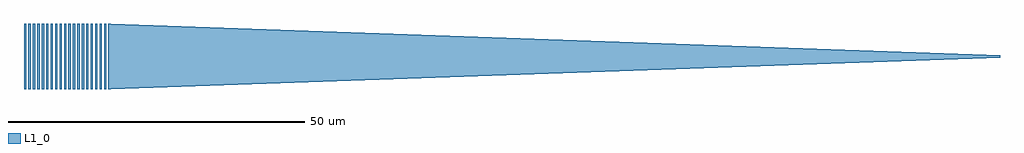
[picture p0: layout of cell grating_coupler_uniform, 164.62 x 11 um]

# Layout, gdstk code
import gdstk
lib = gdstk.Library(unit=1e-6, precision=1e-09)
def R(c, l, rs):  # rectangles x0, y0, x1, y1
    for r in rs: c.add(gdstk.rectangle(r[:2], r[2:], *l))
def A(c, l, x, y, w, h, nx, ny, dx, dy):  # array of equal rectangles
    R(c, l, [(x+i*dx, y+j*dy, x+i*dx+w, y+j*dy+h) for i in range(nx) for j in range(ny)])
def P(c, l, *ps):  # polygons
    for p in ps: c.add(gdstk.Polygon(p, *l))
L1_0 = (1, 0)

grating_coupler_uniform = lib.new_cell('grating_coupler_uniform')
A(grating_coupler_uniform, L1_0, 0.562, -5.5, 0.375, 11, 19, 1, 0.75, 0)
R(grating_coupler_uniform, L1_0, [(-0.187,-5.5,0.187,5.5)])
P(grating_coupler_uniform, L1_0, [(14.437,5.5),(164.437,0.25),(164.437,-0.25),(14.437,-5.5)])

lib.write_gds('grating_coupler_uniform.gds')
